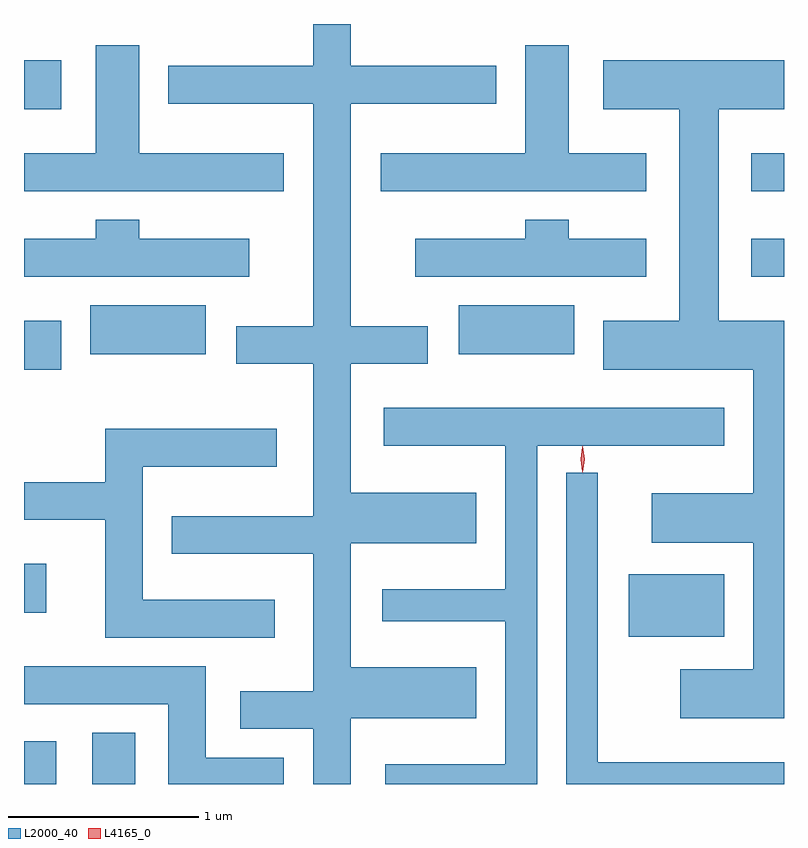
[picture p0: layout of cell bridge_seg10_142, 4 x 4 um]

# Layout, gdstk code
import gdstk
lib = gdstk.Library(unit=1e-6, precision=1e-09)
def R(c, l, rs):  # rectangles x0, y0, x1, y1
    for r in rs: c.add(gdstk.rectangle(r[:2], r[2:], *l))
def P(c, l, *ps):  # polygons
    for p in ps: c.add(gdstk.Polygon(p, *l))
L2000_40 = (2000, 40)
L4165_0 = (4165, 0)

bridge_seg10_142 = lib.new_cell('bridge_seg10_142')
R(bridge_seg10_142, L2000_40, [(1647.348,2140.535,1647.519,2140.759), (1647.706,2140.535,1647.934,2140.804), (1650.531,2141.311,1651.034,2141.639), (1647.348,2141.436,1647.464,2141.694), (1647.348,2142.716,1647.544,2142.974), (1647.696,2142.796,1648.304,2143.054), (1649.636,2142.796,1650.244,2143.054), (1651.176,2143.206,1651.348,2143.404), (1651.176,2143.656,1651.348,2143.854), (1647.348,2144.086,1647.544,2144.344)])
P(bridge_seg10_142, L2000_40, [(1649.069,2140.881),(1649.729,2140.881),(1649.729,2141.149),(1649.069,2141.149),(1649.069,2141.801),(1649.729,2141.801),(1649.729,2142.069),(1649.069,2142.069),(1649.069,2142.746),(1649.474,2142.746),(1649.474,2142.944),(1649.069,2142.944),(1649.069,2144.116),(1649.834,2144.116),(1649.834,2144.314),(1649.069,2144.314),(1649.069,2144.535),(1648.871,2144.535),(1648.871,2144.314),(1648.106,2144.314),(1648.106,2144.116),(1648.871,2144.116),(1648.871,2142.944),(1648.466,2142.944),(1648.466,2142.746),(1648.871,2142.746),(1648.871,2141.944),(1648.126,2141.944),(1648.126,2141.746),(1648.871,2141.746),(1648.871,2141.024),(1648.486,2141.024),(1648.486,2140.826),(1648.871,2140.826),(1648.871,2140.535),(1649.069,2140.535)],
  [(1648.714,2143.854),(1647.954,2143.854),(1647.954,2144.424),(1647.726,2144.424),(1647.726,2143.854),(1647.348,2143.854),(1647.348,2143.656),(1648.714,2143.656)],
  [(1650.624,2143.854),(1650.214,2143.854),(1650.214,2144.424),(1649.986,2144.424),(1649.986,2143.854),(1649.226,2143.854),(1649.226,2143.656),(1650.624,2143.656)],
  [(1651.348,2142.974),(1651.004,2142.974),(1651.004,2144.086),(1651.348,2144.086),(1651.348,2144.344),(1650.396,2144.344),(1650.396,2144.086),(1650.796,2144.086),(1650.796,2142.974),(1650.396,2142.974),(1650.396,2142.716),(1651.186,2142.716),(1651.186,2142.064),(1650.651,2142.064),(1650.651,2141.806),(1651.186,2141.806),(1651.186,2141.139),(1650.801,2141.139),(1650.801,2140.881),(1651.348,2140.881)],
  [(1650.624,2143.404),(1650.214,2143.404),(1650.214,2143.504),(1649.986,2143.504),(1649.986,2143.404),(1649.406,2143.404),(1649.406,2143.206),(1650.624,2143.206)],
  [(1648.534,2143.404),(1647.954,2143.404),(1647.954,2143.504),(1647.726,2143.504),(1647.726,2143.404),(1647.348,2143.404),(1647.348,2143.206),(1648.534,2143.206)],
  [(1650.049,2142.316),(1651.034,2142.316),(1651.034,2142.514),(1649.241,2142.514),(1649.241,2142.316),(1649.881,2142.316),(1649.881,2141.559),(1649.233,2141.559),(1649.233,2141.391),(1649.881,2141.391),(1649.881,2140.639),(1649.248,2140.639),(1649.248,2140.535),(1650.049,2140.535)],
  [(1648.669,2141.504),(1647.974,2141.504),(1647.974,2142.206),(1648.679,2142.206),(1648.679,2142.404),(1647.776,2142.404),(1647.776,2142.124),(1647.348,2142.124),(1647.348,2141.926),(1647.776,2141.926),(1647.776,2141.306),(1648.669,2141.306)],
  [(1651.348,2140.649),(1650.369,2140.649),(1650.369,2142.173),(1650.201,2142.173),(1650.201,2140.535),(1651.348,2140.535)],
  [(1648.714,2140.674),(1648.304,2140.674),(1648.304,2141.154),(1647.348,2141.154),(1647.348,2140.956),(1648.106,2140.956),(1648.106,2140.535),(1648.714,2140.535)])
P(bridge_seg10_142, L4165_0, [(1650.286,2142.178),(1650.277,2142.244),(1650.286,2142.311),(1650.287,2142.311),(1650.287,2142.311),(1650.297,2142.244),(1650.287,2142.178),(1650.287,2142.178)],
  [(1650.288,2142.174),(1650.288,2142.175),(1650.278,2142.244),(1650.288,2142.313),(1650.288,2142.314),(1650.288,2142.313),(1650.298,2142.244),(1650.288,2142.175)])

lib.write_gds('bridge_seg10_142.gds')
